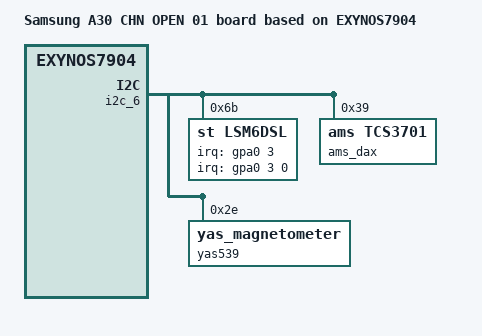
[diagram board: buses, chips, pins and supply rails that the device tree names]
/*
 * SAMSUNG EXYNOS7904 board device tree source

 *
 * Copyright (c) 2018 Samsung Electronics Co., Ltd.
 *		http://www.samsung.com
 *
 * This program is free software; you can redistribute it and/or modify
 * it under the terms of the GNU General Public License version 2 as
 * published by the Free Software Foundation.
*/

/dts-v1/;
/plugin/;

#include "exynos7904-a30chn_common.dtsi"
#include "exynos7904-a30_chn_open_gpio_01.dtsi"
#include "exynos7904-a30chn_fingerprint-sensor_00.dtsi"

/ {
	compatible = "samsung,A30 CHN OPEN 01", "samsung,EXYNOS7904";

	dtbo-hw_rev = <1>;
    dtbo-hw_rev_end = <255>;


	fragment@model {
		target-path = "/";
		__overlay__ {
			#address-cells = <2>;
			#size-cells = <1>;

			model = "Samsung A30 CHN OPEN 01 board based on EXYNOS7904";

		}; /* end of __overlay__ */
	}; /* end of fragment */
}; /* end of root */

&i2c_6 {
 	        status = "okay";

 		#address-cells = <1>;
 		#size-cells = <0>;
 		samsung,i2c-sda-delay = <100>;
 		samsung,i2c-max-bus-freq = <400000>;
 		pinctrl-names = "default";
 		pinctrl-0 = <&i2c6_bus>;

 		lsm6dsl@6b {
 			compatible = "st,lsm6dsl";
 			reg = <0x6b>;
 			gpio-controller;
 			#gpio-cells = <2>;
 			pinctrl-names = "default";
 			pinctrl-0 = <&acc_int>;
 			interrupt-parent = <&gpa0>;
 			interrupts = <3 0 0>;
 			st,irq_gpio = <&gpa0 3 0>;
 			st,orientation = <1 0 1 2 1 1 1 1 2>;
 		};
 		
		ams_dax@39 {
			compatible = "ams,tcs3701";
			reg = <0x39>;
			ams,light_position = <51 81 2 59 1 80>;
		};

		yas539@2e {
			compatible = "yas_magnetometer";
			reg = <0x2e>;
			yas,orientation = <6>;
			yas,softiron = <9682 235 23 277 10362 133 151 260 10427>;
			yas,softiron_sign = <2 2 2 2 2 0 0 2 2>;
		};
		
};
